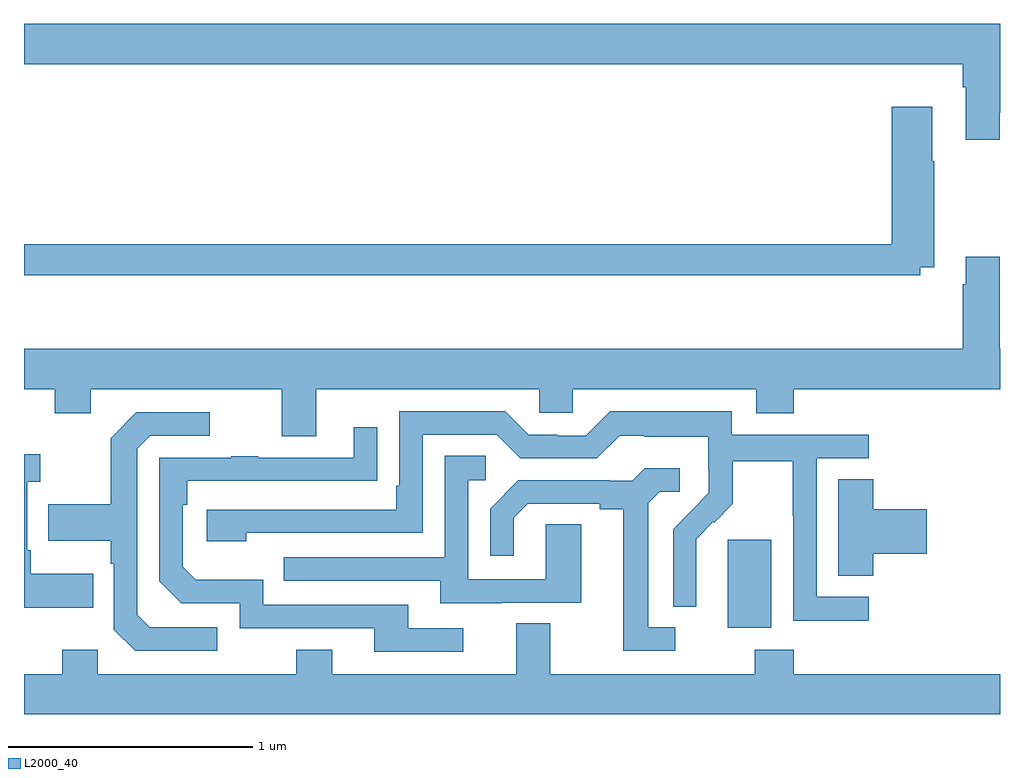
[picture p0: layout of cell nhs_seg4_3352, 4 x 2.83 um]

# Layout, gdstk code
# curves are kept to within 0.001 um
import gdstk
lib = gdstk.Library(unit=1e-6, precision=1e-09)
def R(c, l, rs):  # rectangles x0, y0, x1, y1
    for r in rs: c.add(gdstk.rectangle(r[:2], r[2:], *l))
def P(c, l, *ps):  # polygons
    for p in ps: c.add(gdstk.Polygon(p, *l))
L2000_40 = (2000, 40)

nhs_seg4_3352 = lib.new_cell('nhs_seg4_3352')
R(nhs_seg4_3352, L2000_40, [(291.884,755.882,292.063,756.243)])
P(nhs_seg4_3352, L2000_40, [(292.999,757.993),(293,757.993),(293,758.356),(289,758.356),(289,758.192),(292.847,758.192),(292.847,758.096),(292.859,758.096),(292.859,757.881),(292.999,757.881)],
  [(292.674,757.358),(292.731,757.358),(292.731,757.793),(292.723,757.793),(292.723,758.017),(292.556,758.017),(292.556,757.454),(289,757.454),(289,757.326),(292.674,757.326)],
  [(290.197,756.86),(291.111,756.86),(291.111,756.762),(291.249,756.762),(291.249,756.86),(292.001,756.86),(292.001,756.761),(292.154,756.761),(292.154,756.86),(293,756.86),(293,757.024),(292.999,757.024),(292.999,757.402),(292.859,757.402),(292.859,757.289),(292.847,757.289),(292.847,757.024),(289,757.024),(289,756.86),(289.126,756.86),(289.126,756.761),(289.273,756.761),(289.273,756.86),(290.057,756.86),(290.057,756.666),(290.197,756.666)],
  [(292.462,756.009),(292.248,756.009),(292.248,756.576),(292.462,756.576),(292.462,756.672),(291.9,756.672),(291.9,756.769),(291.403,756.769),(291.303,756.669),(291.188,756.669),(291.188,756.672),(291.069,756.672),(290.973,756.768),(290.538,756.768),(290.538,756.463),(290.525,756.463),(290.525,756.366),(289.749,756.366),(289.749,756.236),(289.91,756.236),(289.91,756.27),(290.634,756.27),(290.634,756.672),(290.937,756.672),(291.033,756.576),(291.348,756.576),(291.441,756.669),(291.541,756.669),(291.541,756.665),(291.804,756.665),(291.804,756.531),(291.806,756.531),(291.806,756.434),(291.66,756.286),(291.66,755.968),(291.756,755.968),(291.755,756.245),(291.825,756.315),(291.828,756.312),(291.905,756.389),(291.905,756.564),(292.15,756.564),(292.15,756.34),(292.152,756.34),(292.152,755.911),(292.462,755.911)],
  [(289.792,755.883),(289.515,755.883),(289.464,755.934),(289.464,756.615),(289.518,756.669),(289.762,756.669),(289.762,756.765),(289.461,756.765),(289.356,756.659),(289.356,756.387),(289.099,756.387),(289.099,756.239),(289.356,756.239),(289.356,756.143),(289.368,756.143),(289.368,755.874),(289.455,755.787),(289.792,755.787)],
  [(290.8,755.88),(290.575,755.88),(290.575,755.976),(289.98,755.976),(289.98,756.079),(289.703,756.079),(289.65,756.132),(289.65,756.386),(289.67,756.386),(289.67,756.483),(290.447,756.484),(290.447,756.703),(290.351,756.703),(290.351,756.579),(289.961,756.579),(289.961,756.584),(289.849,756.584),(289.849,756.579),(289.554,756.579),(289.554,756.072),(289.644,755.982),(289.884,755.982),(289.884,755.88),(290.435,755.88),(290.435,755.784),(290.8,755.784)],
  [(289.283,756.103),(289.027,756.103),(289.027,756.199),(289.014,756.199),(289.014,756.479),(289.066,756.479),(289.066,756.592),(289,756.592),(289,755.963),(289.283,755.963)],
  [(290.959,755.985),(291.283,755.985),(291.283,756.305),(291.138,756.305),(291.138,756.081),(290.82,756.081),(290.82,756.486),(290.893,756.486),(290.893,756.587),(290.724,756.587),(290.724,756.171),(290.065,756.171),(290.065,756.075),(290.705,756.075),(290.705,755.981),(290.959,755.981)],
  [(291.67,755.883),(291.559,755.883),(291.559,756.391),(291.606,756.438),(291.688,756.438),(291.688,756.535),(291.544,756.535),(291.492,756.483),(291.398,756.483),(291.398,756.486),(291.026,756.486),(290.91,756.37),(290.91,756.177),(291.007,756.177),(291.007,756.333),(291.064,756.39),(291.359,756.39),(291.359,756.368),(291.455,756.368),(291.455,755.787),(291.67,755.787)],
  [(292.481,756.185),(292.699,756.185),(292.699,756.368),(292.481,756.368),(292.481,756.491),(292.337,756.491),(292.337,756.094),(292.481,756.094)],
  [(289.156,755.791),(289.156,755.692),(289,755.692),(289,755.528),(293,755.528),(293,755.692),(292.154,755.692),(292.154,755.791),(291.994,755.791),(291.994,755.692),(291.157,755.692),(291.157,755.9),(291.017,755.9),(291.017,755.692),(290.263,755.692),(290.263,755.791),(290.116,755.791),(290.116,755.692),(289.302,755.692),(289.302,755.791)])

lib.write_gds('nhs_seg4_3352.gds')
